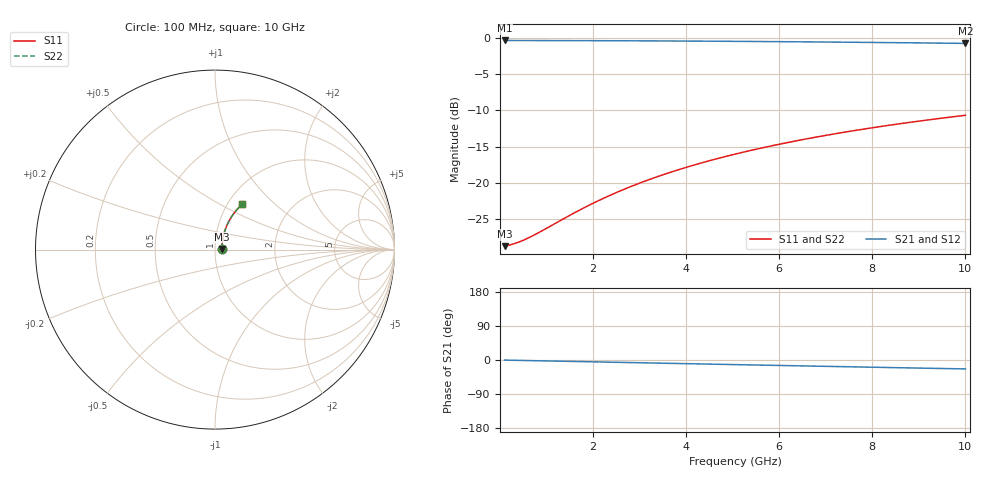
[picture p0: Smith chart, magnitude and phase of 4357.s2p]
# Hz S RI R 50.00
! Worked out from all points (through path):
!   100 points, 100 MHz to 10 GHz, reference 50 ohm
!   highest |S21| = -0.32 dB at 100 MHz (marker M1); lowest = -0.7 dB at 10 GHz (marker M2)
!   group delay of S21, straight-line fit = 6.56 ps
!   lowest |S11| = -28.8 dB at 100 MHz (marker M3), VSWR 1.08, Z = 53.8 + j0.316 ohm
!   |S11| at or under -10 dB: start of sweep to end of sweep
!   |S22| runs from -28.8 to -10.7 dB; largest |S21 - S12| = 0
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1e8  0.0363 0.00293  0.9637 -0.00409  0.9637 -0.00409  0.0363 0.00293
3e8  0.0368 0.00878  0.9632 -0.0122  0.9632 -0.0122  0.0368 0.00878
4e8  0.0371 0.0117  0.9629 -0.0163  0.9629 -0.0163  0.0371 0.0117
6e8  0.0375 0.0175  0.9625 -0.0245  0.9625 -0.0245  0.0375 0.0175
8e8  0.038 0.0234  0.9619 -0.0326  0.9619 -0.0326  0.038 0.0234
1.5e9  0.0405 0.0437  0.9594 -0.061  0.9594 -0.061  0.0405 0.0437
1.8e9  0.0418 0.0523  0.9579 -0.0731  0.9579 -0.0731  0.0418 0.0523
2.2e9  0.044 0.0637  0.9557 -0.0891  0.9557 -0.0891  0.044 0.0637
2.6e9  0.0465 0.0751  0.9531 -0.1051  0.9531 -0.1051  0.0465 0.0751
3e9  0.0493 0.0863  0.95 -0.121  0.95 -0.121  0.0493 0.0863
3.4e9  0.0525 0.0974  0.9467 -0.1367  0.9467 -0.1367  0.0525 0.0974
3.8e9  0.0561 0.1084  0.9429 -0.1523  0.9429 -0.1523  0.0561 0.1084
4.2e9  0.06 0.1192  0.9387 -0.1677  0.9387 -0.1677  0.06 0.1192
4.6e9  0.0643 0.1298  0.9342 -0.183  0.9342 -0.183  0.0643 0.1298
5.1e9  0.0701 0.1429  0.9281 -0.2019  0.9281 -0.2019  0.0701 0.1429
5.5e9  0.0751 0.1531  0.9228 -0.2167  0.9228 -0.2167  0.0751 0.1531
5.9e9  0.0804 0.1631  0.9172 -0.2314  0.9172 -0.2314  0.0804 0.1631
6.7e9  0.0919 0.1824  0.905 -0.26  0.905 -0.26  0.0919 0.1824
7.5e9  0.1045 0.2008  0.8916 -0.2877  0.8916 -0.2877  0.1045 0.2008
8.4e9  0.1199 0.2202  0.8752 -0.3176  0.8752 -0.3176  0.1199 0.2202
9.2e9  0.1346 0.2364  0.8595 -0.3431  0.8595 -0.3431  0.1346 0.2364
1e10  0.1501 0.2513  0.843 -0.3674  0.843 -0.3674  0.1501 0.2513
